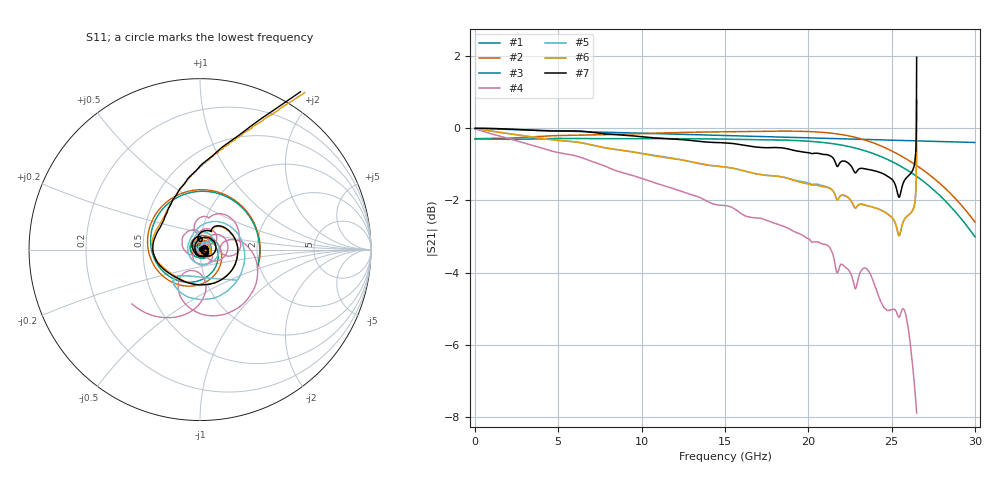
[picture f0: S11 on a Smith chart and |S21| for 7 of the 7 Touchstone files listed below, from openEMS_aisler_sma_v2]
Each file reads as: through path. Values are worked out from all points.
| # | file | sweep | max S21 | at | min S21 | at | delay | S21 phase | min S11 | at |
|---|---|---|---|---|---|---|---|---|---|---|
| 1 | p2_gcwg.s2p | 18.75 MHz to 30 GHz | 0.00 dB | 18.75 MHz | -0.4 dB | 30 GHz | 31.1 ps | -165 deg at 15.02 GHz | -86.9 dB | 18.75 MHz |
| 2 | rosenberger_32K242-40ML5_on_aisler_6layer_v2_final_2023-05-11_153429.s2p | 18.75 MHz to 30 GHz | -0.08 dB | 18.6 GHz | -2.6 dB | 30 GHz | 76.2 ps | -41 deg at 15.02 GHz | -33.7 dB | 1.538 GHz |
| 3 | rosenberger_32K242-40ML5_on_aisler_6layer_v2_final_nodeemb_2023-05-09_002457.s2p | 18.75 MHz to 30 GHz | -0.28 dB | 5.119 GHz | -3.0 dB | 30 GHz | 107 ps | 154 deg at 15.02 GHz | -35.2 dB | 1.613 GHz |
| 4 | SMA_Rosenberger_32K242-40ML5v2_Aisler6LayerHD_meas.s2p | 10 MHz to 26.5 GHz | 0.00 dB | 20 MHz | -7.9 dB | 26.5 GHz | 323 ps | -80 deg at 13.26 GHz | -82.1 dB | 1.94 GHz |
| 5 | SMA_Rosenberger_32K242-40ML5v2_Aisler6LayerHD_meas_left.s2p | 10 MHz to 26.5 GHz | 0.77 dB | 26.5 GHz | -3.0 dB | 25.44 GHz | 162 ps | -40 deg at 13.26 GHz | -43.2 dB | 10 MHz |
| 6 | SMA_Rosenberger_32K242-40ML5v2_Aisler6LayerHD_meas_right.s2p | 10 MHz to 26.5 GHz | 0.77 dB | 26.5 GHz | -3.0 dB | 25.44 GHz | 162 ps | -40 deg at 13.26 GHz | -59.9 dB | 9.26 GHz |
| 7 | SMA_Rosenberger_32K242-40ML5v2_Aisler6LayerHD_meas_right_shift_14450um.s2p | 16.56 MHz to 26.5 GHz | 1.97 dB | 26.5 GHz | -1.9 dB | 25.44 GHz | 72.2 ps | 20 deg at 13.27 GHz | -46.5 dB | 9.06 GHz |
